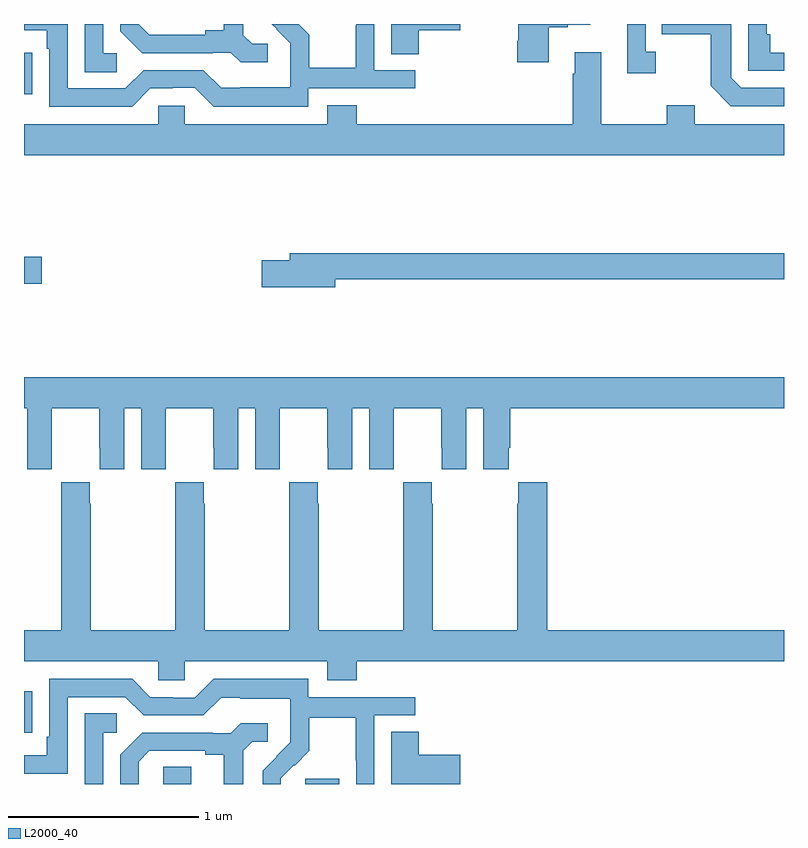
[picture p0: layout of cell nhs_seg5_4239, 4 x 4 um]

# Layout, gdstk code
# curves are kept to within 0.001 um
import gdstk
lib = gdstk.Library(unit=1e-6, precision=1e-09)
def R(c, l, rs):  # rectangles x0, y0, x1, y1
    for r in rs: c.add(gdstk.rectangle(r[:2], r[2:], *l))
def P(c, l, *ps):  # polygons
    for p in ps: c.add(gdstk.Polygon(p, *l))
L2000_40 = (2000, 40)

nhs_seg5_4239 = lib.new_cell('nhs_seg5_4239')
R(nhs_seg5_4239, L2000_40, [(361.734,838.799,361.879,838.889), (362.48,838.799,362.659,838.827), (361,839.068,361.043,839.287), (361,841.432,361.093,841.574), (361,842.43,361.043,842.648)])
P(nhs_seg5_4239, L2000_40, [(362.284,842.694),(362.202,842.694),(362.155,842.741),(362.155,842.799),(362.051,842.799),(362.051,842.765),(361.955,842.765),(361.955,842.742),(361.66,842.742),(361.603,842.799),(361.506,842.799),(361.506,842.762),(361.622,842.646),(361.994,842.646),(361.994,842.649),(362.088,842.649),(362.14,842.597),(362.284,842.597)],
  [(363.077,842.765),(363.295,842.765),(363.295,842.799),(362.933,842.799),(362.933,842.641),(363.077,842.641)],
  [(365,842.649),(364.928,842.649),(364.928,842.746),(364.908,842.746),(364.908,842.799),(364.812,842.799),(364.812,842.553),(365,842.553)],
  [(365,842.463),(364.776,842.463),(364.722,842.517),(364.722,842.799),(364.357,842.799),(364.357,842.746),(364.614,842.746),(364.614,842.473),(364.719,842.367),(365,842.367)],
  [(361.489,842.646),(361.416,842.646),(361.416,842.799),(361.32,842.799),(361.32,842.545),(361.489,842.545)],
  [(364.324,842.654),(364.272,842.654),(364.272,842.799),(364.175,842.799),(364.175,842.541),(364.324,842.541)],
  [(363.763,842.783),(363.863,842.783),(363.863,842.795),(363.979,842.795),(363.979,842.799),(363.601,842.799),(363.601,842.71),(363.596,842.71),(363.596,842.598),(363.763,842.598)],
  [(362.496,842.46),(363.058,842.46),(363.058,842.556),(362.844,842.556),(362.844,842.799),(362.748,842.799),(362.748,842.792),(362.746,842.792),(362.746,842.569),(362.501,842.569),(362.501,842.743),(362.445,842.799),(362.303,842.799),(362.329,842.773),(362.328,842.772),(362.402,842.698),(362.402,842.601),(362.4,842.601),(362.4,842.467),(362.137,842.467),(362.137,842.463),(362.037,842.463),(361.944,842.556),(361.629,842.556),(361.533,842.46),(361.23,842.46),(361.23,842.799),(361,842.799),(361,842.766),(361.121,842.766),(361.121,842.669),(361.134,842.669),(361.134,842.364),(361.569,842.364),(361.665,842.46),(361.784,842.46),(361.784,842.463),(361.899,842.463),(361.999,842.363),(362.496,842.363)],
  [(364.384,842.371),(364.384,842.272),(364.039,842.272),(364.039,842.65),(363.899,842.65),(363.899,842.537),(363.887,842.537),(363.887,842.272),(362.75,842.272),(362.75,842.371),(362.597,842.371),(362.597,842.272),(361.845,842.272),(361.845,842.37),(361.707,842.37),(361.707,842.272),(361,842.272),(361,842.108),(365,842.108),(365,842.272),(364.531,842.272),(364.531,842.371)],
  [(362.638,841.456),(365,841.456),(365,841.592),(362.399,841.592),(362.399,841.556),(362.25,841.556),(362.25,841.414),(362.638,841.414)],
  [(361.146,840.568),(361.147,840.568),(361.147,840.776),(361.397,840.776),(361.397,840.568),(361.398,840.568),(361.398,840.456),(361.528,840.456),(361.528,840.776),(361.616,840.776),(361.616,840.456),(361.746,840.456),(361.746,840.568),(361.747,840.568),(361.747,840.776),(361.997,840.776),(361.997,840.568),(361.998,840.568),(361.998,840.456),(362.128,840.456),(362.128,840.776),(362.216,840.776),(362.216,840.456),(362.346,840.456),(362.346,840.568),(362.347,840.568),(362.347,840.776),(362.597,840.776),(362.597,840.568),(362.598,840.568),(362.598,840.456),(362.728,840.456),(362.728,840.776),(362.816,840.776),(362.816,840.456),(362.946,840.456),(362.946,840.568),(362.947,840.568),(362.947,840.776),(363.197,840.776),(363.197,840.568),(363.198,840.568),(363.198,840.456),(363.328,840.456),(363.328,840.776),(363.416,840.776),(363.416,840.456),(363.55,840.456),(363.55,840.568),(363.56,840.568),(363.56,840.776),(365,840.776),(365,840.94),(361,840.94),(361,840.776),(361.016,840.776),(361.016,840.456),(361.146,840.456)],
  [(362.75,839.444),(365,839.444),(365,839.608),(363.755,839.608),(363.755,840.388),(363.601,840.388),(363.601,840.275),(363.595,840.275),(363.595,839.608),(363.15,839.608),(363.15,840.275),(363.147,840.275),(363.147,840.388),(362.997,840.388),(362.997,840.275),(362.995,840.275),(362.995,839.608),(362.55,839.608),(362.55,840.275),(362.547,840.275),(362.547,840.388),(362.397,840.388),(362.397,840.275),(362.395,840.275),(362.395,839.608),(361.95,839.608),(361.95,840.275),(361.947,840.275),(361.947,840.388),(361.797,840.388),(361.797,840.275),(361.795,840.275),(361.795,839.608),(361.35,839.608),(361.35,840.275),(361.347,840.275),(361.347,840.388),(361.197,840.388),(361.197,840.275),(361.195,840.275),(361.195,839.608),(361,839.608),(361,839.444),(361.707,839.444),(361.707,839.346),(361.845,839.346),(361.845,839.444),(362.597,839.444),(362.597,839.345),(362.75,839.345)],
  [(362.351,838.829),(362.421,838.899),(362.424,838.896),(362.501,838.973),(362.501,839.148),(362.746,839.148),(362.746,838.924),(362.748,838.924),(362.748,838.799),(362.844,838.799),(362.844,839.16),(363.058,839.16),(363.058,839.256),(362.496,839.256),(362.496,839.353),(361.999,839.353),(361.899,839.253),(361.784,839.253),(361.784,839.256),(361.665,839.256),(361.569,839.352),(361.134,839.352),(361.134,839.047),(361.121,839.047),(361.121,838.95),(361,838.95),(361,838.854),(361.23,838.854),(361.23,839.256),(361.533,839.256),(361.629,839.16),(361.944,839.16),(362.037,839.253),(362.137,839.253),(362.137,839.249),(362.4,839.249),(362.4,839.115),(362.402,839.115),(362.402,839.018),(362.256,838.87),(362.256,838.799),(362.351,838.799)],
  [(361.416,839.07),(361.489,839.07),(361.489,839.171),(361.32,839.171),(361.32,838.799),(361.416,838.799)],
  [(361.603,838.917),(361.66,838.974),(361.955,838.974),(361.955,838.952),(362.051,838.952),(362.051,838.799),(362.155,838.799),(362.155,838.975),(362.202,839.022),(362.284,839.022),(362.284,839.119),(362.14,839.119),(362.088,839.067),(361.994,839.067),(361.994,839.07),(361.622,839.07),(361.506,838.954),(361.506,838.799),(361.603,838.799)],
  [(363.295,838.952),(363.077,838.952),(363.077,839.075),(362.933,839.075),(362.933,838.799),(363.295,838.799)])

lib.write_gds('nhs_seg5_4239.gds')
